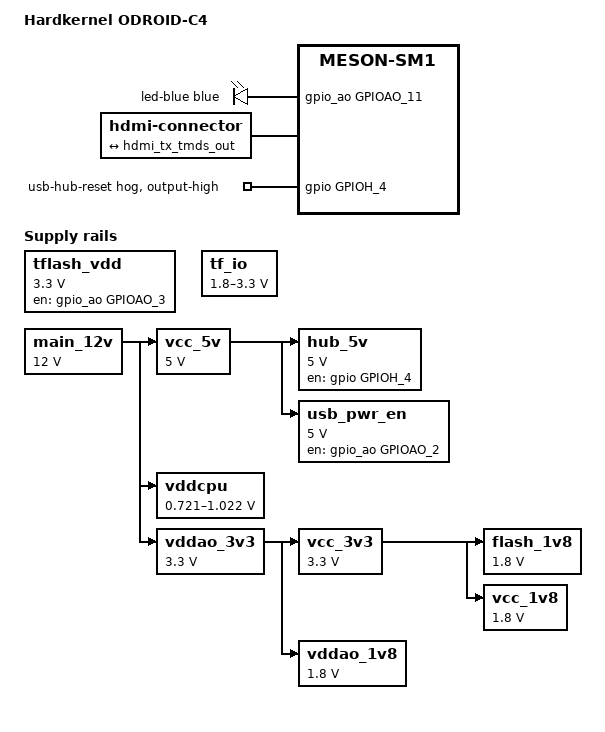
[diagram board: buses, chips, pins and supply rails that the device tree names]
// SPDX-License-Identifier: (GPL-2.0+ OR MIT)
/*
 * Copyright (c) 2020 Dongjin Kim <tobetter@gmail.com>
 */

/dts-v1/;

#include "meson-sm1-odroid.dtsi"

/ {
	compatible = "hardkernel,odroid-c4", "amlogic,sm1";
	model = "Hardkernel ODROID-C4";

	leds {
		compatible = "gpio-leds";

		led-blue {
			color = <LED_COLOR_ID_BLUE>;
			function = LED_FUNCTION_STATUS;
			gpios = <&gpio_ao GPIOAO_11 GPIO_ACTIVE_HIGH>;
			linux,default-trigger = "heartbeat";
			panic-indicator;
		};
	};

	tflash_vdd: regulator-tflash_vdd {
		compatible = "regulator-fixed";

		regulator-name = "TFLASH_VDD";
		regulator-min-microvolt = <3300000>;
		regulator-max-microvolt = <3300000>;

		gpio = <&gpio_ao GPIOAO_3 GPIO_OPEN_DRAIN>;
		enable-active-high;
		regulator-always-on;
	};

	tf_io: gpio-regulator-tf_io {
		compatible = "regulator-gpio";

		regulator-name = "TF_IO";
		regulator-min-microvolt = <1800000>;
		regulator-max-microvolt = <3300000>;

		gpios = <&gpio_ao GPIOAO_6 GPIO_ACTIVE_HIGH>;
		gpios-states = <0>;

		states = <3300000 0>,
			 <1800000 1>;
	};

	flash_1v8: regulator-flash_1v8 {
		compatible = "regulator-fixed";
		regulator-name = "FLASH_1V8";
		regulator-min-microvolt = <1800000>;
		regulator-max-microvolt = <1800000>;
		vin-supply = <&vcc_3v3>;
		regulator-always-on;
	};

	main_12v: regulator-main_12v {
		compatible = "regulator-fixed";
		regulator-name = "12V";
		regulator-min-microvolt = <12000000>;
		regulator-max-microvolt = <12000000>;
		regulator-always-on;
	};

	vcc_5v: regulator-vcc_5v {
		compatible = "regulator-fixed";
		regulator-name = "5V";
		regulator-min-microvolt = <5000000>;
		regulator-max-microvolt = <5000000>;
		regulator-always-on;
		vin-supply = <&main_12v>;
	};

	vcc_1v8: regulator-vcc_1v8 {
		compatible = "regulator-fixed";
		regulator-name = "VCC_1V8";
		regulator-min-microvolt = <1800000>;
		regulator-max-microvolt = <1800000>;
		vin-supply = <&vcc_3v3>;
		regulator-always-on;
	};

	vcc_3v3: regulator-vcc_3v3 {
		compatible = "regulator-fixed";
		regulator-name = "VCC_3V3";
		regulator-min-microvolt = <3300000>;
		regulator-max-microvolt = <3300000>;
		vin-supply = <&vddao_3v3>;
		regulator-always-on;
		/* FIXME: actually controlled by VDDCPU_B_EN */
	};

	vddcpu: regulator-vddcpu {
		/*
		 * MP8756GD Regulator.
		 */
		compatible = "pwm-regulator";

		regulator-name = "VDDCPU";
		regulator-min-microvolt = <721000>;
		regulator-max-microvolt = <1022000>;

		vin-supply = <&main_12v>;

		pwms = <&pwm_AO_cd 1 1250 0>;
		pwm-dutycycle-range = <100 0>;

		regulator-boot-on;
		regulator-always-on;
	};

	hub_5v: regulator-hub_5v {
		compatible = "regulator-fixed";
		regulator-name = "HUB_5V";
		regulator-min-microvolt = <5000000>;
		regulator-max-microvolt = <5000000>;
		vin-supply = <&vcc_5v>;

		/* Connected to the Hub CHIPENABLE, LOW sets low power state */
		gpio = <&gpio GPIOH_4 GPIO_ACTIVE_HIGH>;
		enable-active-high;
	};

	usb_pwr_en: regulator-usb_pwr_en {
		compatible = "regulator-fixed";
		regulator-name = "USB_PWR_EN";
		regulator-min-microvolt = <5000000>;
		regulator-max-microvolt = <5000000>;
		vin-supply = <&vcc_5v>;

		/* Connected to the microUSB port power enable */
		gpio = <&gpio_ao GPIOAO_2 GPIO_ACTIVE_HIGH>;
		enable-active-high;
	};

	vddao_1v8: regulator-vddao_1v8 {
		compatible = "regulator-fixed";
		regulator-name = "VDDAO_1V8";
		regulator-min-microvolt = <1800000>;
		regulator-max-microvolt = <1800000>;
		vin-supply = <&vddao_3v3>;
		regulator-always-on;
	};

	vddao_3v3: regulator-vddao_3v3 {
		compatible = "regulator-fixed";
		regulator-name = "VDDAO_3V3";
		regulator-min-microvolt = <3300000>;
		regulator-max-microvolt = <3300000>;
		vin-supply = <&main_12v>;
		regulator-always-on;
	};

	hdmi-connector {
		compatible = "hdmi-connector";
		type = "a";

		port {
			hdmi_connector_in: endpoint {
				remote-endpoint = <&hdmi_tx_tmds_out>;
			};
		};
	};

	sound {
		model = "ODROID-C4";
	};
};

&gpio {
	/*
	 * WARNING: The USB Hub on the Odroid-C4 needs a reset signal
	 * to be turned high in order to be detected by the USB Controller
	 * This signal should be handled by a USB specific power sequence
	 * in order to reset the Hub when USB bus is powered down.
	 */
	hog-0 {
		gpio-hog;
		gpios = <GPIOH_4 GPIO_ACTIVE_HIGH>;
		output-high;
		line-name = "usb-hub-reset";
	};
};

&ir {
	linux,rc-map-name = "rc-odroid";
};
